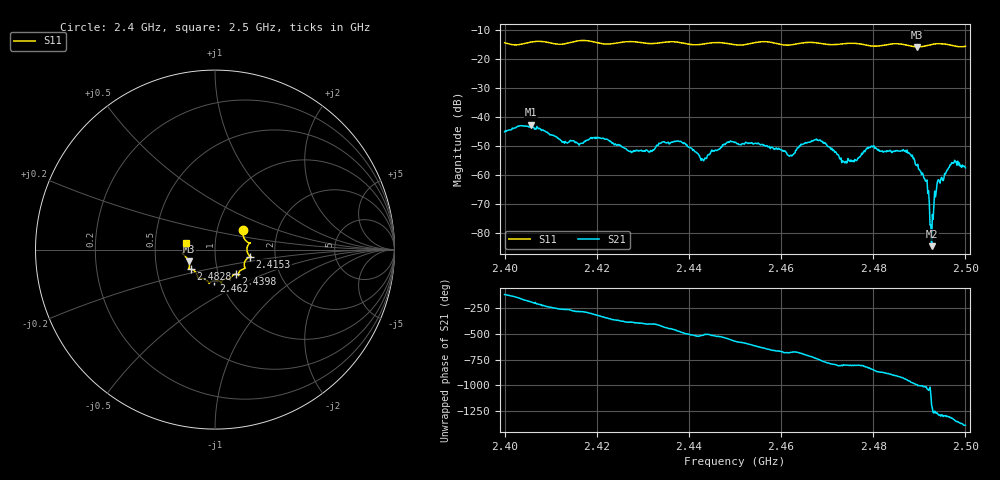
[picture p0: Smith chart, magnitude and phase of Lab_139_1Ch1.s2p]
# Hz S RI R 50
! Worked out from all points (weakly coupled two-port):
!   601 points, 2.4 GHz to 2.5 GHz, reference 50 ohm
!   highest |S21| = -42.72 dB at 2.4057 GHz (marker M1); lowest = -84.5 dB at 2.4927 GHz (marker M2)
!   lowest |S11| = -15.9 dB at 2.4895 GHz (marker M3), VSWR 1.38, Z = 37 - j5.03 ohm
!   |S11| at or under -10 dB: start of sweep to end of sweep
!   S12 and S22 are empty: the file has one direction only
!   S11 on the Smith chart (normalised r, x): 2.4 GHz: 1.33, +0.30; 2.4153 GHz: 1.48, -0.12; 2.4398 GHz: 1.21, -0.34; 2.462 GHz: 0.93, -0.33; 2.4828 GHz: 0.74, -0.17; 2.5 GHz: 0.72, +0.06
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2.4e9  0.1557 0.1069  -0.00246 -0.00496  0 0  0 0
2.405667e9  0.1901 0.0373  -0.00728 0.000662  0 0  0 0
2.415333e9  0.1961 -0.0386  0.000674 0.00353  0 0  0 0
2.416667e9  0.2021 -0.0424  0.000816 0.00342  0 0  0 0
2.427333e9  0.1687 -0.1033  0.00238 -0.000995  0 0  0 0
2.433333e9  0.131 -0.1337  0.00194 -0.00258  0 0  0 0
2.439833e9  0.1157 -0.1365  -0.00237 -0.00191  0 0  0 0
2.443167e9  0.088 -0.1566  -0.00155 -0.000811  0 0  0 0
2.45e9  0.0649 -0.1624  -0.00312 0.00189  0 0  0 0
2.462e9  -0.00468 -0.1728  0.00165 0.0014  0 0  0 0
2.466667e9  -0.0341 -0.1884  0.00389 -0.000154  0 0  0 0
2.473667e9  -0.0861 -0.1605  0.000199 -0.00166  0 0  0 0
2.479667e9  -0.1072 -0.127  -0.00168 -0.00265  0 0  0 0
2.482833e9  -0.1364 -0.1093  -0.00239 -0.000726  0 0  0 0
2.483333e9  -0.1401 -0.109  -0.00251 -0.000593  0 0  0 0
2.487e9  -0.1435 -0.0977  -0.00202 0.00171  0 0  0 0
2.4895e9  -0.1459 -0.0663  0.00011 0.00144  0 0  0 0
2.4915e9  -0.1628 -0.0394  0.000329 0.000719  0 0  0 0
2.492667e9  -0.1737 -0.0293  -2.37e-05 -5.46e-05  0 0  0 0
2.494333e9  -0.181 -0.0217  -0.000665 0.000424  0 0  0 0
2.4975e9  -0.1667 -0.00193  -0.000438 0.00156  0 0  0 0
2.5e9  -0.1594 0.0387  0.000842 0.00103  0 0  0 0
